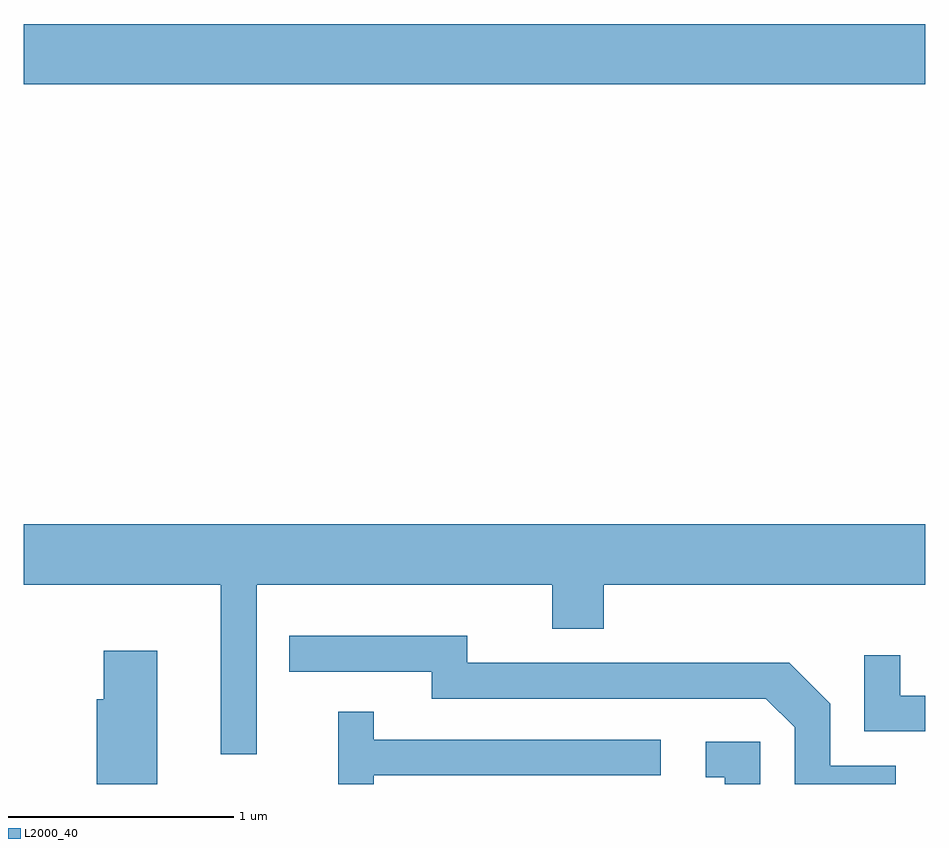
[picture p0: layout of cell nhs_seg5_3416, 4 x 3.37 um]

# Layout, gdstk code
import gdstk
lib = gdstk.Library(unit=1e-6, precision=1e-09)
def R(c, l, rs):  # rectangles x0, y0, x1, y1
    for r in rs: c.add(gdstk.rectangle(r[:2], r[2:], *l))
def P(c, l, *ps):  # polygons
    for p in ps: c.add(gdstk.Polygon(p, *l))
L2000_40 = (2000, 40)

nhs_seg5_3416 = lib.new_cell('nhs_seg5_3416')
R(nhs_seg5_3416, L2000_40, [(285.611,1521.176,289.611,1521.444)])
P(nhs_seg5_3416, L2000_40, [(286.644,1518.956),(287.956,1518.956),(287.956,1518.761),(288.184,1518.761),(288.184,1518.956),(289.611,1518.956),(289.611,1519.224),(285.611,1519.224),(285.611,1518.956),(286.486,1518.956),(286.486,1518.203),(286.644,1518.203)],
  [(289.479,1518.154),(289.189,1518.154),(289.189,1518.427),(289.007,1518.609),(287.579,1518.609),(287.579,1518.729),(286.788,1518.729),(286.788,1518.571),(287.421,1518.571),(287.421,1518.451),(288.904,1518.451),(289.031,1518.324),(289.031,1518.072),(289.479,1518.072)],
  [(286.204,1518.664),(285.966,1518.664),(285.966,1518.449),(285.936,1518.449),(285.936,1518.072),(286.204,1518.072)],
  [(289.611,1518.464),(289.499,1518.464),(289.499,1518.643),(289.341,1518.643),(289.341,1518.306),(289.611,1518.306)],
  [(287.164,1518.111),(288.438,1518.111),(288.438,1518.269),(287.164,1518.269),(287.164,1518.393),(287.006,1518.393),(287.006,1518.072),(287.164,1518.072)],
  [(288.879,1518.259),(288.638,1518.259),(288.638,1518.101),(288.721,1518.101),(288.721,1518.072),(288.879,1518.072)])

lib.write_gds('nhs_seg5_3416.gds')
